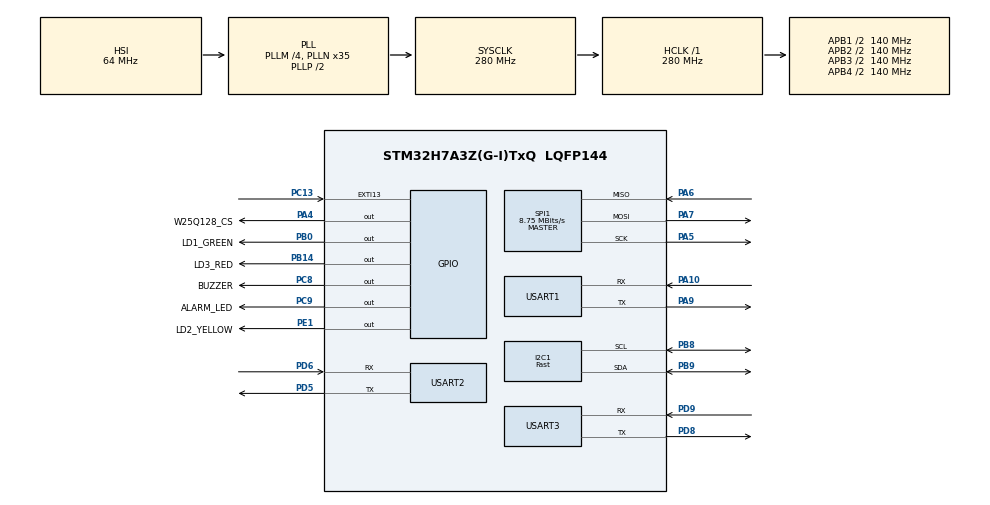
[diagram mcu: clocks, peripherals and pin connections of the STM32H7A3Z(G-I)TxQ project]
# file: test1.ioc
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CORTEX_M7.default_mode_Activation=1
FREERTOS.Queues01=queue_activation,16,uint16_t,0,Dynamic,NULL,NULL;queue_sensor_data,16,uint32_t,0,Dynamic,NULL,NULL;queue_cloud_cmd,8,uint16_t,0,Dynamic,NULL,NULL
FREERTOS.Tasks01=Task_StateMachi,40,256,StartTask_StateMachine,Default,NULL,Dynamic,NULL,NULL;Task_4G_MQTT,40,256,StartTask_4G_MQTT,Default,NULL,Dynamic,NULL,NULL;Task_I2C_Sensor,24,128,StartTask_I2C_Sensors,Default,NULL,Dynamic,NULL,NULL;Task_GPS,24,128,StartTask_GPS,Default,NULL,Dynamic,NULL,NULL;Task_Flash,8,128,StartTask_Flash,Default,NULL,Dynamic,NULL,NULL;Task_Alarm,8,128,StartTask_Alarm,Default,NULL,Dynamic,NULL,NULL
I2C1.I2C_Speed_Mode=I2C_Fast
I2C1.Timing=0x00D04BFF
Mcu.Family=STM32H7
Mcu.Name=STM32H7A3Z(G-I)TxQ
Mcu.Package=LQFP144
NVIC.EXTI15_10_IRQn=true\:5\:0\:true\:false\:true\:true\:true\:true\:true
NVIC.PriorityGroup=NVIC_PRIORITYGROUP_4
NVIC.TIM6_DAC_IRQn=true\:15\:0\:false\:false\:true\:false\:false\:true\:true
NVIC.TimeBase=TIM6_DAC_IRQn
NVIC.TimeBaseIP=TIM6
PA10.Mode=Asynchronous
PA10.Signal=USART1_RX
PA4.GPIO_Label=W25Q128_CS
PA4.GPIO_Speed=GPIO_SPEED_FREQ_HIGH
PA4.PinState=GPIO_PIN_SET
PA4.Signal=GPIO_Output
PA5.Mode=Full_Duplex_Master
PA5.Signal=SPI1_SCK
PA6.Mode=Full_Duplex_Master
PA6.Signal=SPI1_MISO
PA7.Mode=Full_Duplex_Master
PA7.Signal=SPI1_MOSI
PA9.Mode=Asynchronous
PA9.Signal=USART1_TX
PB0.GPIO_Label=LD1_GREEN
PB0.GPIO_PuPd=GPIO_NOPULL
PB0.Signal=GPIO_Output
PB14.GPIO_Label=LD3_RED
PB14.Signal=GPIO_Output
PB8.Mode=I2C
PB8.Signal=I2C1_SCL
PB9.Mode=I2C
PB9.Signal=I2C1_SDA
PC13.GPIO_ModeDefaultEXTI=GPIO_MODE_IT_FALLING
PC13.GPIO_PuPd=GPIO_PULLUP
PC13.Signal=GPXTI13
PC14-OSC32_IN.GPIO_Label=OSC32_IN
PC14-OSC32_IN.Signal=RCC_OSC32_IN
PC15-OSC32_OUT.GPIO_Label=OSC32_OUT
PC15-OSC32_OUT.Signal=RCC_OSC32_OUT
PC8.GPIO_Label=BUZZER
PC8.Signal=GPIO_Output
PC9.GPIO_Label=ALARM_LED
PC9.Signal=GPIO_Output
PD5.Mode=Asynchronous
PD5.Signal=USART2_TX
PD6.Mode=Asynchronous
PD6.Signal=USART2_RX
PD8.GPIO_ModeDefaultPP=GPIO_MODE_AF_PP
PD8.Mode=Asynchronous
PD8.Signal=USART3_TX
PD9.Mode=Asynchronous
PD9.Signal=USART3_RX
PE1.GPIO_Label=LD2_YELLOW
PE1.Signal=GPIO_Output
PH0-OSC_IN.GPIO_Label=PH0-MCU
PH0-OSC_IN.Signal=RCC_OSC_IN
PH1-OSC_OUT.GPIO_Label=PH1-MCU
PH1-OSC_OUT.Signal=RCC_OSC_OUT
ProjectManager.HeapSize=0x200
ProjectManager.StackSize=0x400
ProjectManager.TargetToolchain=MDK-ARM V5.32
RCC.ADCFreq_Value=129000000
RCC.APB1Freq_Value=140000000
RCC.APB2Freq_Value=140000000
RCC.APB3Freq_Value=140000000
RCC.APB4Freq_Value=140000000
RCC.CDPPRE=RCC_APB3_DIV2
RCC.CDPPRE1=RCC_APB1_DIV2
RCC.CDPPRE2=RCC_APB2_DIV2
RCC.CortexFreq_Value=280000000
RCC.DIVM1=4
RCC.DIVM3=1
RCC.DIVN1=35
RCC.DIVN3=24
RCC.DIVQ1=4
RCC.HCLKFreq_Value=280000000
RCC.HSE_VALUE=8000000
RCC.PLLFRACN=0
RCC.PWR_Regulator_Voltage_Scale=PWR_REGULATOR_VOLTAGE_SCALE0
RCC.SRDPPRE=RCC_APB4_DIV2
RCC.SYSCLKFreq_VALUE=280000000
RCC.SYSCLKSource=RCC_SYSCLKSOURCE_PLLCLK
RCC.SupplySource=PWR_DIRECT_SMPS_SUPPLY
RCC.USBCLockSelection=RCC_USBCLKSOURCE_HSI48
RCC.USBFreq_Value=48000000
SPI1.BaudRatePrescaler=SPI_BAUDRATEPRESCALER_16
SPI1.CalculateBaudRate=8.75 MBits/s
SPI1.DataSize=SPI_DATASIZE_8BIT
SPI1.Direction=SPI_DIRECTION_2LINES
SPI1.Mode=SPI_MODE_MASTER
SPI1.VirtualType=VM_MASTER
USART1.VirtualMode-Asynchronous=VM_ASYNC
USART2.VirtualMode-Asynchronous=VM_ASYNC
USART3.VirtualMode-Asynchronous=VM_ASYNC
VP_FREERTOS_VS_CMSIS_V2.Mode=CMSIS_V2
VP_MEMORYMAP_VS_MEMORYMAP.Mode=CurAppReg
VP_SYS_VS_tim6.Mode=TIM6
board=NUCLEO-H7A3ZI-Q

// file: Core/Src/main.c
/* USER CODE BEGIN Header */
/**
  ******************************************************************************
  * @file           : main.c
  * @brief          : Main program body
  ******************************************************************************
  * @attention
  *
  * Copyright (c) 2026 STMicroelectronics.
  * All rights reserved.
  *
  * This software is licensed under terms that can be found in the LICENSE file
  * in the root directory of this software component.
  * If no LICENSE file comes with this software, it is provided AS-IS.
  *
  ******************************************************************************
  */
/* USER CODE END Header */
#include "main.h"
#include "FreeRTOS.h"
#include "cmsis_os2.h"
#include "i2c.h"
#include "spi.h"
#include "usart.h"
#include "gpio.h"

/* USER CODE BEGIN Includes */
#include "app/app.h"
#include "app/app_types.h"
#include <stdio.h>
/* USER CODE END Includes */

void SystemClock_Config(void);
static void MPU_Config(void);
void MX_FREERTOS_Init(void);

/* USER CODE BEGIN 0 */

/* 重定向 printf 到 USART3（用于 AC6 + MicroLIB） */
int fputc(int ch, FILE *f)
{
    HAL_UART_Transmit(&huart3, (uint8_t *)&ch, 1, HAL_MAX_DELAY);
    return ch;
}
/* USER CODE END 0 */

int main(void)
{

  /* MPU Configuration--------------------------------------------------------*/
  MPU_Config();

  /* MCU Configuration--------------------------------------------------------*/

  /* Reset of all peripherals, Initializes the Flash interface and the Systick. */
  HAL_Init();

  /* Configure the system clock */
  SystemClock_Config();

  /* Initialize all configured peripherals */
  MX_GPIO_Init();
  MX_USART3_UART_Init();
  MX_I2C1_Init();
  MX_SPI1_Init();
  MX_USART1_UART_Init();
  MX_USART2_UART_Init();

  /* Init scheduler */
  osKernelInitialize();  /* Call init function for freertos objects (in cmsis_os2.c) */
  MX_FREERTOS_Init();

  /* Start scheduler */
  osKernelStart();

  /* We should never get here as control is now taken by the scheduler */

  /* Infinite loop */
  while (1)
  {

  }
}

void SystemClock_Config(void)
{
  RCC_OscInitTypeDef RCC_OscInitStruct = {0};
  RCC_ClkInitTypeDef RCC_ClkInitStruct = {0};

  /*AXI clock gating */
  RCC->CKGAENR = 0xE003FFFF;

  /** Supply configuration update enable
  */
  HAL_PWREx_ConfigSupply(PWR_DIRECT_SMPS_SUPPLY);

  /** Configure the main internal regulator output voltage
  */
  __HAL_PWR_VOLTAGESCALING_CONFIG(PWR_REGULATOR_VOLTAGE_SCALE0);

  while(!__HAL_PWR_GET_FLAG(PWR_FLAG_VOSRDY)) {}

  /** Initializes the RCC Oscillators according to the specified parameters
  * in the RCC_OscInitTypeDef structure.
  */
  RCC_OscInitStruct.OscillatorType = RCC_OSCILLATORTYPE_HSI;
  RCC_OscInitStruct.HSIState = RCC_HSI_DIV1;
  RCC_OscInitStruct.HSICalibrationValue = 64;
  RCC_OscInitStruct.PLL.PLLState = RCC_PLL_ON;
  RCC_OscInitStruct.PLL.PLLSource = RCC_PLLSOURCE_HSI;
  RCC_OscInitStruct.PLL.PLLM = 4;
  RCC_OscInitStruct.PLL.PLLN = 35;
  RCC_OscInitStruct.PLL.PLLP = 2;
  RCC_OscInitStruct.PLL.PLLQ = 4;
  RCC_OscInitStruct.PLL.PLLR = 2;
  RCC_OscInitStruct.PLL.PLLRGE = RCC_PLL1VCIRANGE_3;
  RCC_OscInitStruct.PLL.PLLVCOSEL = RCC_PLL1VCOWIDE;
  RCC_OscInitStruct.PLL.PLLFRACN = 0;
  if (HAL_RCC_OscConfig(&RCC_OscInitStruct) != HAL_OK)
  {
    Error_Handler();
  }

  /** Initializes the CPU, AHB and APB buses clocks
  */
  RCC_ClkInitStruct.ClockType = RCC_CLOCKTYPE_HCLK|RCC_CLOCKTYPE_SYSCLK
                              |RCC_CLOCKTYPE_PCLK1|RCC_CLOCKTYPE_PCLK2
                              |RCC_CLOCKTYPE_D3PCLK1|RCC_CLOCKTYPE_D1PCLK1;
  RCC_ClkInitStruct.SYSCLKSource = RCC_SYSCLKSOURCE_PLLCLK;
  RCC_ClkInitStruct.SYSCLKDivider = RCC_SYSCLK_DIV1;
  RCC_ClkInitStruct.AHBCLKDivider = RCC_HCLK_DIV1;
  RCC_ClkInitStruct.APB3CLKDivider = RCC_APB3_DIV2;
  RCC_ClkInitStruct.APB1CLKDivider = RCC_APB1_DIV2;
  RCC_ClkInitStruct.APB2CLKDivider = RCC_APB2_DIV2;
  RCC_ClkInitStruct.APB4CLKDivider = RCC_APB4_DIV2;

  if (HAL_RCC_ClockConfig(&RCC_ClkInitStruct, FLASH_LATENCY_6) != HAL_OK)
  {
    Error_Handler();
  }
}

/* USER CODE BEGIN 4 */

/**
  * @brief  GPIO EXTI 回调 — 按键 PC13 触发
  * @param  GPIO_Pin: 触发中断的引脚号
  */
void HAL_GPIO_EXTI_Callback(uint16_t GPIO_Pin)
{
    if (GPIO_Pin == GPIO_PIN_13) {
        static uint32_t last_button_tick = 0;
        uint32_t now_tick = HAL_GetTick();

        if ((now_tick - last_button_tick) < 200U) {
            return;
        }

        last_button_tick = now_tick;
        App_SendActivationFromISR(APP_ACTIVATION_BUTTON);
    }
}
/* USER CODE END 4 */

 /* MPU Configuration */

void MPU_Config(void)
{
  MPU_Region_InitTypeDef MPU_InitStruct = {0};

  /* Disables the MPU */
  HAL_MPU_Disable();

  /** Initializes and configures the Region and the memory to be protected
  */
  MPU_InitStruct.Enable = MPU_REGION_ENABLE;
  MPU_InitStruct.Number = MPU_REGION_NUMBER0;
  MPU_InitStruct.BaseAddress = 0x0;
  MPU_InitStruct.Size = MPU_REGION_SIZE_4GB;
  MPU_InitStruct.SubRegionDisable = 0x87;
  MPU_InitStruct.TypeExtField = MPU_TEX_LEVEL0;
  MPU_InitStruct.AccessPermission = MPU_REGION_NO_ACCESS;
  MPU_InitStruct.DisableExec = MPU_INSTRUCTION_ACCESS_DISABLE;
  MPU_InitStruct.IsShareable = MPU_ACCESS_SHAREABLE;
  MPU_InitStruct.IsCacheable = MPU_ACCESS_NOT_CACHEABLE;
  MPU_InitStruct.IsBufferable = MPU_ACCESS_NOT_BUFFERABLE;

  HAL_MPU_ConfigRegion(&MPU_InitStruct);
  /* Enables the MPU */
  HAL_MPU_Enable(MPU_PRIVILEGED_DEFAULT);

}

void HAL_TIM_PeriodElapsedCallback(TIM_HandleTypeDef *htim)
{
  if (htim->Instance == TIM6)
  {
    HAL_IncTick();
  }
}

void Error_Handler(void)
{
  __disable_irq();
  while (1)
  {
  }
}

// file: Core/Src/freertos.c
/* USER CODE BEGIN Header */
/**
  ******************************************************************************
  * File Name          : freertos.c
  * Description        : Code for freertos applications
  ******************************************************************************
  * @attention
  *
  * Copyright (c) 2026 STMicroelectronics.
  * All rights reserved.
  *
  * This software is licensed under terms that can be found in the LICENSE file
  * in the root directory of this software component.
  * If no LICENSE file comes with this software, it is provided AS-IS.
  *
  ******************************************************************************
  */
/* USER CODE END Header */

#include "FreeRTOS.h"
#include "task.h"
#include "main.h"
#include "FreeRTOS.h"
#include "cmsis_os2.h"

/* USER CODE BEGIN Includes */
#include "app/app.h"
#include <stdio.h>
/* USER CODE END Includes */

/* Definitions for Task_StateMachi */
osThreadId_t Task_StateMachiHandle;
const osThreadAttr_t Task_StateMachi_attributes = {
  .name = "Task_StateMachi",
  .stack_size = 512 * 4,
  .priority = (osPriority_t) osPriorityHigh,
};
/* Definitions for Task_4G_MQTT */
osThreadId_t Task_4G_MQTTHandle;
const osThreadAttr_t Task_4G_MQTT_attributes = {
  .name = "Task_4G_MQTT",
  .stack_size = 768 * 4,
  .priority = (osPriority_t) osPriorityHigh,
};
/* Definitions for Task_I2C_Sensor */
osThreadId_t Task_I2C_SensorHandle;
const osThreadAttr_t Task_I2C_Sensor_attributes = {
  .name = "Task_I2C_Sensor",
  .stack_size = 256 * 4,
  .priority = (osPriority_t) osPriorityNormal,
};
/* Definitions for Task_GPS */
osThreadId_t Task_GPSHandle;
const osThreadAttr_t Task_GPS_attributes = {
  .name = "Task_GPS",
  .stack_size = 256 * 4,
  .priority = (osPriority_t) osPriorityNormal,
};
/* Definitions for Task_Flash */
osThreadId_t Task_FlashHandle;
const osThreadAttr_t Task_Flash_attributes = {
  .name = "Task_Flash",
  .stack_size = 256 * 4,
  .priority = (osPriority_t) osPriorityLow,
};
/* Definitions for Task_Alarm */
osThreadId_t Task_AlarmHandle;
const osThreadAttr_t Task_Alarm_attributes = {
  .name = "Task_Alarm",
  .stack_size = 128 * 4,
  .priority = (osPriority_t) osPriorityLow,
};
/* Definitions for queue_activation */
osMessageQueueId_t queue_activationHandle;
const osMessageQueueAttr_t queue_activation_attributes = {
  .name = "queue_activation"
};
/* Definitions for queue_sensor_data */
osMessageQueueId_t queue_sensor_dataHandle;
const osMessageQueueAttr_t queue_sensor_data_attributes = {
  .name = "queue_sensor_data"
};
/* Definitions for queue_cloud_cmd */
osMessageQueueId_t queue_cloud_cmdHandle;
const osMessageQueueAttr_t queue_cloud_cmd_attributes = {
  .name = "queue_cloud_cmd"
};

/* USER CODE BEGIN FunctionPrototypes */
static void LogRtosCreateResult(const char *name, void *handle);

/* USER CODE END FunctionPrototypes */

void StartTask_StateMachine(void *argument);
void StartTask_4G_MQTT(void *argument);
void StartTask_I2C_Sensors(void *argument);
void StartTask_GPS(void *argument);
void StartTask_Flash(void *argument);
void StartTask_Alarm(void *argument);

void MX_FREERTOS_Init(void); /* (MISRA C 2004 rule 8.1) */

void MX_FREERTOS_Init(void) {

  /* Create the queue(s) */
  /* creation of queue_activation */
  queue_activationHandle = osMessageQueueNew (16, sizeof(uint16_t), &queue_activation_attributes);

  /* creation of queue_sensor_data */
  queue_sensor_dataHandle = osMessageQueueNew (16, sizeof(uint32_t), &queue_sensor_data_attributes);

  /* creation of queue_cloud_cmd */
  queue_cloud_cmdHandle = osMessageQueueNew (8, sizeof(uint16_t), &queue_cloud_cmd_attributes);

  /* USER CODE BEGIN RTOS_QUEUES */
  LogRtosCreateResult("queue_activation", queue_activationHandle);
  LogRtosCreateResult("queue_sensor_data", queue_sensor_dataHandle);
  LogRtosCreateResult("queue_cloud_cmd", queue_cloud_cmdHandle);
  /* USER CODE END RTOS_QUEUES */

  /* Create the thread(s) */
  /* creation of Task_StateMachi */
  Task_StateMachiHandle = osThreadNew(StartTask_StateMachine, NULL, &Task_StateMachi_attributes);

  /* creation of Task_4G_MQTT */
  Task_4G_MQTTHandle = osThreadNew(StartTask_4G_MQTT, NULL, &Task_4G_MQTT_attributes);

  /* creation of Task_I2C_Sensor */
  Task_I2C_SensorHandle = osThreadNew(StartTask_I2C_Sensors, NULL, &Task_I2C_Sensor_attributes);

  /* creation of Task_GPS */
  Task_GPSHandle = osThreadNew(StartTask_GPS, NULL, &Task_GPS_attributes);

  /* creation of Task_Flash */
  Task_FlashHandle = osThreadNew(StartTask_Flash, NULL, &Task_Flash_attributes);

  /* creation of Task_Alarm */
  Task_AlarmHandle = osThreadNew(StartTask_Alarm, NULL, &Task_Alarm_attributes);

  /* USER CODE BEGIN RTOS_THREADS */
  LogRtosCreateResult("Task_StateMachi", Task_StateMachiHandle);
  LogRtosCreateResult("Task_4G_MQTT", Task_4G_MQTTHandle);
  LogRtosCreateResult("Task_I2C_Sensor", Task_I2C_SensorHandle);
  LogRtosCreateResult("Task_GPS", Task_GPSHandle);
  LogRtosCreateResult("Task_Flash", Task_FlashHandle);
  LogRtosCreateResult("Task_Alarm", Task_AlarmHandle);
  /* USER CODE END RTOS_THREADS */

}

void StartTask_StateMachine(void *argument)
{
  /* USER CODE BEGIN StartTask_StateMachine */
  App_TaskStateMachine();
  /* USER CODE END StartTask_StateMachine */
}

void StartTask_4G_MQTT(void *argument)
{
  /* USER CODE BEGIN StartTask_4G_MQTT */
  App_Task4GMQTT();
  /* USER CODE END StartTask_4G_MQTT */
}

void StartTask_I2C_Sensors(void *argument)
{
  /* USER CODE BEGIN StartTask_I2C_Sensors */
  App_TaskI2CSensors();
  /* USER CODE END StartTask_I2C_Sensors */
}

void StartTask_GPS(void *argument)
{
  /* USER CODE BEGIN StartTask_GPS */
  App_TaskGPS();
  /* USER CODE END StartTask_GPS */
}

void StartTask_Flash(void *argument)
{
  /* USER CODE BEGIN StartTask_Flash */
  App_TaskFlash();
  /* USER CODE END StartTask_Flash */
}

void StartTask_Alarm(void *argument)
{
  /* USER CODE BEGIN StartTask_Alarm */
  App_TaskAlarm();
  /* USER CODE END StartTask_Alarm */
}

/* USER CODE BEGIN Application */
static void LogRtosCreateResult(const char *name, void *handle)
{
  printf("[RTOS] create %s %s\n", name, (handle != NULL) ? "OK" : "FAILED");
}

void vApplicationMallocFailedHook(void)
{
  printf("[RTOS] malloc failed\n");
  taskDISABLE_INTERRUPTS();
  for (;;) {
  }
}

void vApplicationStackOverflowHook(TaskHandle_t xTask, char *pcTaskName)
{
  (void)xTask;
  printf("[RTOS] stack overflow: %s\n", (pcTaskName != NULL) ? pcTaskName : "unknown");
  taskDISABLE_INTERRUPTS();
  for (;;) {
  }
}

/* USER CODE END Application */
